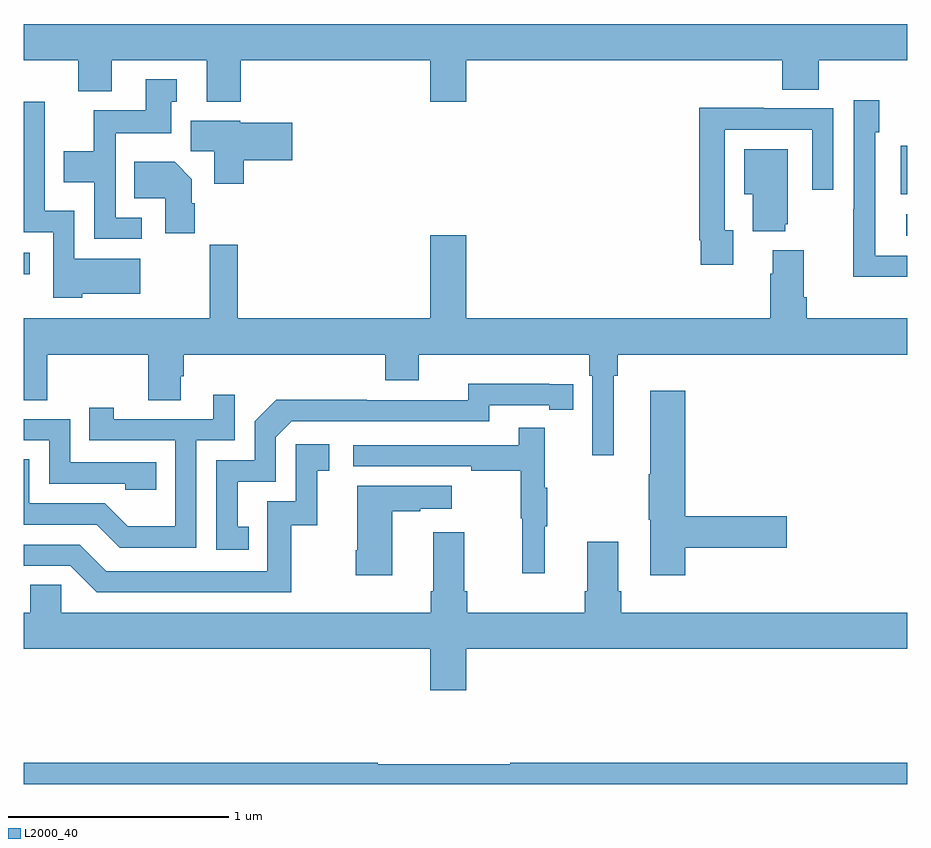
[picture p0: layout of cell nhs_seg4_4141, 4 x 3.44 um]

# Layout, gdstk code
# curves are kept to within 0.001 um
import gdstk
lib = gdstk.Library(unit=1e-6, precision=1e-09)
def R(c, l, rs):  # rectangles x0, y0, x1, y1
    for r in rs: c.add(gdstk.rectangle(r[:2], r[2:], *l))
def P(c, l, *ps):  # polygons
    for p in ps: c.add(gdstk.Polygon(p, *l))
L2000_40 = (2000, 40)

nhs_seg4_4141 = lib.new_cell('nhs_seg4_4141')
R(nhs_seg4_4141, L2000_40, [(331,773.207,331.027,773.304), (334.995,773.382,335,773.478), (334.97,773.57,335,773.789)])
P(nhs_seg4_4141, L2000_40, [(331.982,774.176),(332.84,774.176),(332.84,773.988),(333.004,773.988),(333.004,774.176),(334.433,774.176),(334.433,774.043),(334.598,774.043),(334.598,774.176),(335,774.176),(335,774.34),(331,774.34),(331,774.176),(331.247,774.176),(331.247,774.035),(331.399,774.035),(331.399,774.176),(331.829,774.176),(331.829,773.987),(331.982,773.987)],
  [(331.534,773.463),(331.416,773.463),(331.416,773.846),(331.669,773.846),(331.669,773.988),(331.693,773.988),(331.693,774.091),(331.553,774.091),(331.553,773.95),(331.318,773.95),(331.318,773.764),(331.181,773.764),(331.181,773.624),(331.32,773.624),(331.32,773.367),(331.534,773.367)],
  [(335,773.292),(334.854,773.292),(334.854,773.85),(334.873,773.85),(334.873,773.995),(334.758,773.995),(334.758,773.501),(334.756,773.501),(334.756,773.195),(335,773.195)],
  [(331.266,773.12),(331.528,773.12),(331.528,773.278),(331.23,773.278),(331.23,773.494),(331.096,773.494),(331.096,773.989),(331,773.989),(331,773.397),(331.134,773.397),(331.134,773.102),(331.266,773.102)],
  [(334.213,773.406),(334.173,773.406),(334.173,773.862),(334.569,773.862),(334.569,773.589),(334.665,773.589),(334.665,773.958),(334.349,773.958),(334.349,773.96),(334.057,773.96),(334.057,773.362),(334.065,773.362),(334.065,773.25),(334.213,773.25)],
  [(331.997,773.723),(332.215,773.723),(332.215,773.893),(331.98,773.893),(331.98,773.902),(331.757,773.902),(331.757,773.764),(331.862,773.764),(331.862,773.616),(331.997,773.616)],
  [(334.448,773.433),(334.459,773.433),(334.459,773.773),(334.262,773.773),(334.262,773.57),(334.301,773.57),(334.301,773.402),(334.448,773.402)],
  [(331.775,773.528),(331.762,773.528),(331.762,773.638),(331.684,773.716),(331.501,773.716),(331.501,773.552),(331.64,773.552),(331.64,773.394),(331.775,773.394)],
  [(333.67,772.748),(333.689,772.748),(333.689,772.844),(335,772.844),(335,773.008),(334.544,773.008),(334.544,773.104),(334.531,773.104),(334.531,773.317),(334.391,773.317),(334.391,773.21),(334.379,773.21),(334.379,773.008),(333.004,773.008),(333.004,773.383),(332.84,773.383),(332.84,773.008),(331.97,773.008),(331.97,773.341),(331.842,773.341),(331.842,773.008),(331,773.008),(331,772.636),(331.107,772.636),(331.107,772.844),(331.564,772.844),(331.564,772.636),(331.711,772.636),(331.711,772.746),(331.724,772.746),(331.724,772.844),(332.636,772.844),(332.636,772.727),(332.788,772.727),(332.788,772.844),(333.56,772.844),(333.56,772.748),(333.573,772.748),(333.573,772.389),(333.67,772.389)],
  [(332.018,772.065),(331.969,772.065),(331.969,772.269),(332.142,772.269),(332.142,772.47),(332.214,772.542),(333.108,772.542),(333.108,772.614),(333.38,772.614),(333.38,772.594),(333.488,772.594),(333.488,772.71),(333.012,772.711),(333.012,772.638),(332.552,772.638),(332.552,772.64),(332.144,772.64),(332.046,772.542),(332.046,772.365),(331.872,772.365),(331.872,771.96),(332.018,771.96)],
  [(333.995,771.97),(334.453,771.97),(334.453,772.112),(333.995,772.112),(333.995,772.681),(333.836,772.681),(333.836,772.301),(333.829,772.301),(333.829,772.095),(333.836,772.095),(333.836,771.846),(333.995,771.846)],
  [(331.782,772.455),(331.956,772.455),(331.956,772.663),(331.859,772.663),(331.859,772.551),(331.408,772.551),(331.408,772.603),(331.297,772.603),(331.297,772.455),(331.686,772.455),(331.686,772.066),(331.472,772.066),(331.368,772.17),(331.026,772.17),(331.026,772.369),(331,772.369),(331,772.074),(331.331,772.074),(331.436,771.969),(331.782,771.969)],
  [(331.601,772.356),(331.212,772.356),(331.212,772.551),(331,772.551),(331,772.455),(331.116,772.455),(331.116,772.26),(331.461,772.26),(331.461,772.233),(331.601,772.233)],
  [(333.359,772.067),(333.37,772.067),(333.37,772.241),(333.359,772.241),(333.359,772.513),(333.241,772.513),(333.241,772.434),(332.493,772.434),(332.493,772.338),(333.025,772.338),(333.025,772.318),(333.249,772.318),(333.249,772.104),(333.256,772.104),(333.256,771.855),(333.359,771.855)],
  [(332.212,772.071),(332.33,772.071),(332.33,772.317),(332.383,772.317),(332.383,772.438),(332.232,772.438),(332.232,772.179),(332.103,772.179),(332.103,771.864),(331.374,771.864),(331.254,771.984),(331,771.984),(331,771.888),(331.212,771.888),(331.332,771.768),(332.212,771.768)],
  [(332.668,772.135),(332.795,772.135),(332.795,772.145),(332.938,772.145),(332.938,772.249),(332.51,772.249),(332.51,771.958),(332.503,771.958),(332.503,771.846),(332.668,771.846)],
  [(333.004,771.512),(335,771.512),(335,771.676),(333.704,771.676),(333.704,771.772),(333.691,771.772),(333.691,771.997),(333.551,771.997),(333.551,771.772),(333.539,771.772),(333.539,771.676),(333.008,771.676),(333.008,771.772),(332.995,771.772),(332.995,772.039),(332.855,772.039),(332.855,771.772),(332.843,771.772),(332.843,771.676),(331.17,771.676),(331.17,771.803),(331.031,771.803),(331.031,771.676),(331,771.676),(331,771.512),(332.84,771.512),(332.84,771.324),(333.004,771.324)],
  [(335,770.996),(333.203,770.996),(333.203,770.989),(332.603,770.989),(332.603,770.996),(331,770.996),(331,770.9),(335,770.9)])

lib.write_gds('nhs_seg4_4141.gds')
